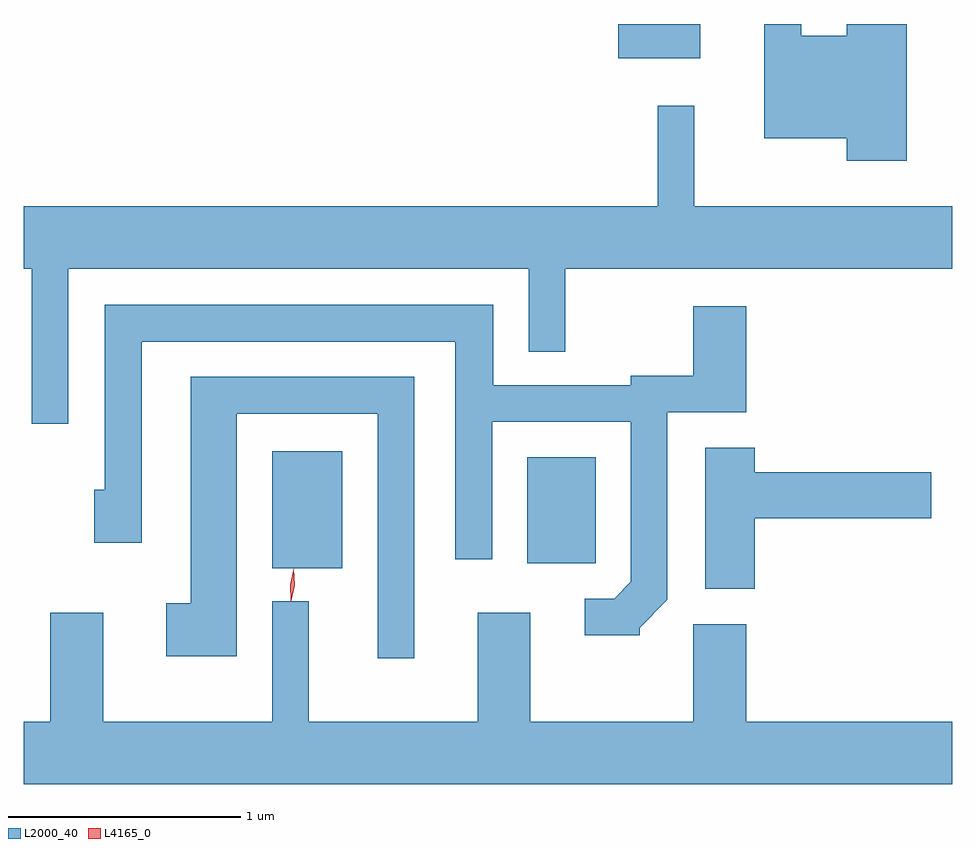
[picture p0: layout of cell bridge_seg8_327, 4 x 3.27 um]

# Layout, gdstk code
import gdstk
lib = gdstk.Library(unit=1e-6, precision=1e-09)
def R(c, l, rs):  # rectangles x0, y0, x1, y1
    for r in rs: c.add(gdstk.rectangle(r[:2], r[2:], *l))
def P(c, l, *ps):  # polygons
    for p in ps: c.add(gdstk.Polygon(p, *l))
L2000_40 = (2000, 40)
L4165_0 = (4165, 0)

bridge_seg8_327 = lib.new_cell('bridge_seg8_327')
R(bridge_seg8_327, L2000_40, [(896.446,1877.306,896.749,1877.809), (897.546,1877.326,897.839,1877.784), (897.936,1879.501,898.289,1879.649)])
P(bridge_seg8_327, L2000_40, [(899.179,1879.649),(898.921,1879.649),(898.921,1879.599),(898.724,1879.599),(898.724,1879.649),(898.566,1879.649),(898.566,1879.156),(898.921,1879.156),(898.921,1879.061),(899.179,1879.061)],
  [(895.569,1878.596),(897.551,1878.596),(897.551,1878.238),(897.709,1878.238),(897.709,1878.596),(899.376,1878.596),(899.376,1878.864),(898.264,1878.864),(898.264,1879.298),(898.106,1879.298),(898.106,1878.864),(895.376,1878.864),(895.376,1878.596),(895.411,1878.596),(895.411,1877.928),(895.569,1877.928)],
  [(898.029,1877.049),(898.149,1877.169),(898.149,1877.976),(898.489,1877.976),(898.489,1878.434),(898.261,1878.434),(898.261,1878.134),(897.991,1878.134),(897.991,1878.094),(897.399,1878.094),(897.399,1878.439),(895.726,1878.439),(895.726,1877.644),(895.681,1877.644),(895.681,1877.416),(895.884,1877.416),(895.884,1878.281),(897.236,1878.281),(897.236,1877.343),(897.394,1877.343),(897.394,1877.936),(897.991,1877.936),(897.991,1877.247),(897.919,1877.174),(897.793,1877.174),(897.793,1877.016),(898.029,1877.016)],
  [(897.059,1878.129),(896.096,1878.129),(896.096,1877.154),(895.991,1877.154),(895.991,1876.926),(896.294,1876.926),(896.294,1877.971),(896.901,1877.971),(896.901,1876.918),(897.059,1876.918)],
  [(898.524,1877.521),(899.284,1877.521),(899.284,1877.719),(898.524,1877.719),(898.524,1877.824),(898.311,1877.824),(898.311,1877.216),(898.524,1877.216)],
  [(899.376,1876.644),(898.489,1876.644),(898.489,1877.064),(898.261,1877.064),(898.261,1876.644),(897.559,1876.644),(897.559,1877.114),(897.331,1877.114),(897.331,1876.644),(896.604,1876.644),(896.604,1877.163),(896.446,1877.163),(896.446,1876.644),(895.719,1876.644),(895.719,1877.114),(895.491,1877.114),(895.491,1876.644),(895.376,1876.644),(895.376,1876.376),(899.376,1876.376)])
P(bridge_seg8_327, L4165_0, [(896.527,1877.165),(896.524,1877.235),(896.539,1877.303),(896.54,1877.303),(896.54,1877.303),(896.544,1877.233),(896.528,1877.165),(896.528,1877.165)],
  [(896.527,1877.168),(896.524,1877.235),(896.539,1877.3),(896.54,1877.3),(896.54,1877.3),(896.544,1877.233),(896.528,1877.168),(896.528,1877.168)])

lib.write_gds('bridge_seg8_327.gds')
